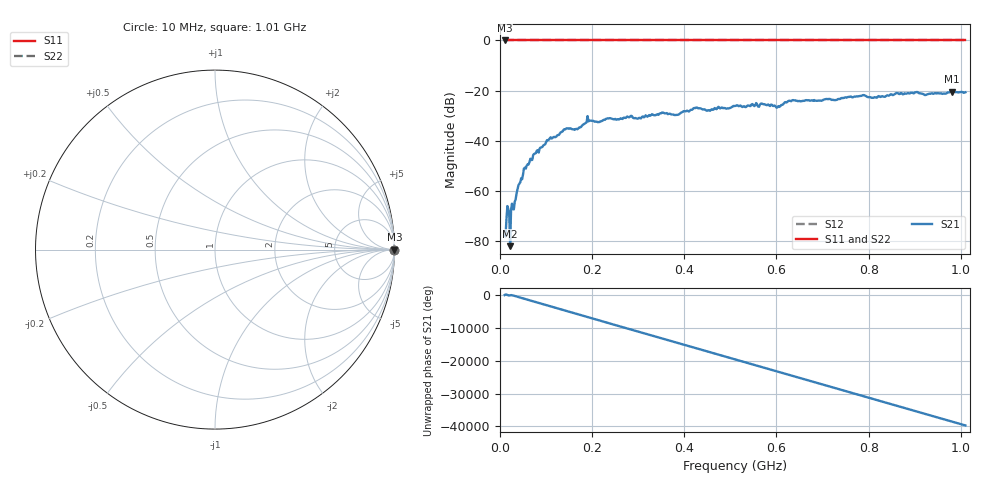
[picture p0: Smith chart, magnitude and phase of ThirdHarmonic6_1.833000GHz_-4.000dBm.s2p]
! 8/16/2025 10:11:44 PM
! C:\ANRITSUVNA\TEMP\TEMP.S2P
! CHANNEL.1
! TR.MEASUREMENT
! RAW.DATA
! RF.CORRECTION.OFF
! AVERAGING.OFF
! IF.BANDWIDTH: 5KHZ
! SWEEPTYPE:  FREQ.SWEEP(Linear)
! Reference Plane Port Info
! PORT:  PORT1  PORT2
! DISTANCE:  0  m  0  m
! TIME:  0  s  0  s
! PHASE.OFFSET:  0  deg.  0  deg.
! LOSS:  0  dB  0  dB
! REF.LOSS:  0  dB  0  dB
! REF.FREQ:  0  Hz  0  Hz
! Power Info
! POWER:  -20  dBm  -20  dBm
! EFF.POWER:  -20  dBm  -20  dBm
! SOURCE.ATTEN:  0  dB  0  dB
! TEST.ATTEN:  0  dB  0  dB
# GHZ S RI R 50.0
! FREQ.GHZ  S11RE  S11IM  S21RE  S21IM  S12RE  S12IM  S22RE  S22IM
!; PortSelection: Port_12
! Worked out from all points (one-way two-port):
!   501 points, 10 MHz to 1.01 GHz, reference 50 ohm
!   highest |S21| = -20.40 dB at 980 MHz (marker M1); lowest = -82.2 dB at 22 MHz (marker M2)
!   lowest |S11| = 0.0 dB at 10 MHz (marker M3)
!   |S11| at or under -10 dB: nowhere
!   |S22| runs from 0.0 to 0.0 dB; largest |S21 - S12| = 1.1
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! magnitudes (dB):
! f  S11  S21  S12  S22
! 10 MHz  0.0  -76.7  0.0  0.0
! 16 MHz  0.0  -66.2  0.0  0.0
! 22 MHz  0.0  -82.2  0.0  0.0
! 26 MHz  0.0  -65.2  0.0  0.0
! 28 MHz  0.0  -67.4  0.0  0.0
! 40 MHz  0.0  -57.9  0.0  0.0
! 54 MHz  0.0  -50.8  0.0  0.0
! 76 MHz  0.0  -45.1  0.0  0.0
! 106 MHz  0.0  -39.7  0.0  0.0
! 142 MHz  0.0  -35.5  0.0  0.0
! 178 MHz  0.0  -34.0  0.0  0.0
! 194 MHz  0.0  -32.1  0.0  0.0
! 344 MHz  0.0  -29.7  0.0  0.0
! 384 MHz  0.0  -29.7  0.0  0.0
! 424 MHz  0.0  -27.0  0.0  0.0
! 510 MHz  0.0  -26.1  0.0  0.0
! 604 MHz  0.0  -26.2  0.0  0.0
! 632 MHz  0.0  -24.3  0.0  0.0
! 678 MHz  0.0  -24.0  0.0  0.0
! 844 MHz  0.0  -22.1  0.0  0.0
! 980 MHz  0.0  -20.4  0.0  0.0
! 1.01 GHz  0.0  -20.7  0.0  0.0
